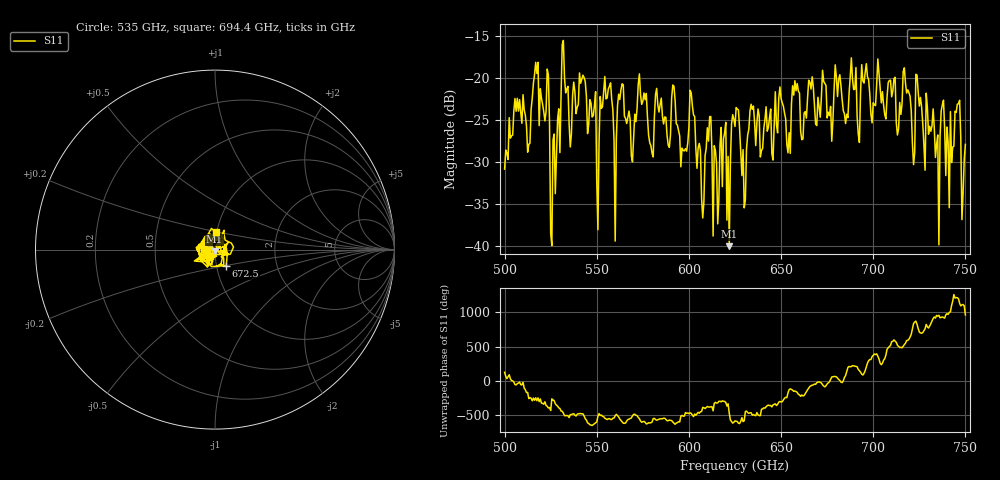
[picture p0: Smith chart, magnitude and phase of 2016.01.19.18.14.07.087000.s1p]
!Created with skrf (http://scikit-rf.org).
# GHz S RI R 50.0
!freq ReS11 ImS11
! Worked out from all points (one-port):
!   401 points, 500 GHz to 750 GHz, reference 50 ohm
!   lowest |S11| = -40.0 dB at 621.9 GHz (marker M1), VSWR 1.02, Z = 49.7 - j0.956 ohm
!   |S11| at or under -10 dB: start of sweep to end of sweep
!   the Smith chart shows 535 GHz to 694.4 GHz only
!   S11 on the Smith chart (normalised r, x): 535 GHz: 0.90, -0.01; 672.5 GHz: 1.11, -0.21; 694.4 GHz: 0.99, +0.19
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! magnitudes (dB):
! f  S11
! 500 GHz  -30.9
! 506.9 GHz  -22.5
! 513.1 GHz  -27.9
! 516.9 GHz  -18.2
! 523.1 GHz  -19.0
! 526.2 GHz  -27.4
! 531.2 GHz  -16.1
! 535 GHz  -25.5
! 541.9 GHz  -20.2
! 551.2 GHz  -27.6
! 556.9 GHz  -21.0
! 560 GHz  -39.4
! 562.5 GHz  -22.6
! 569.4 GHz  -30.0
! 573.8 GHz  -22.1
! 593.8 GHz  -25.7
! 621.9 GHz  -40.0
! 625 GHz  -25.8
! 629.4 GHz  -28.6
! 633.8 GHz  -23.2
! 656.2 GHz  -21.0
! 672.5 GHz  -19.1
! 687.5 GHz  -20.0
! 694.4 GHz  -20.4
! 718.8 GHz  -21.4
! 735 GHz  -26.8
! 745.6 GHz  -23.1
! 750 GHz  -27.9
